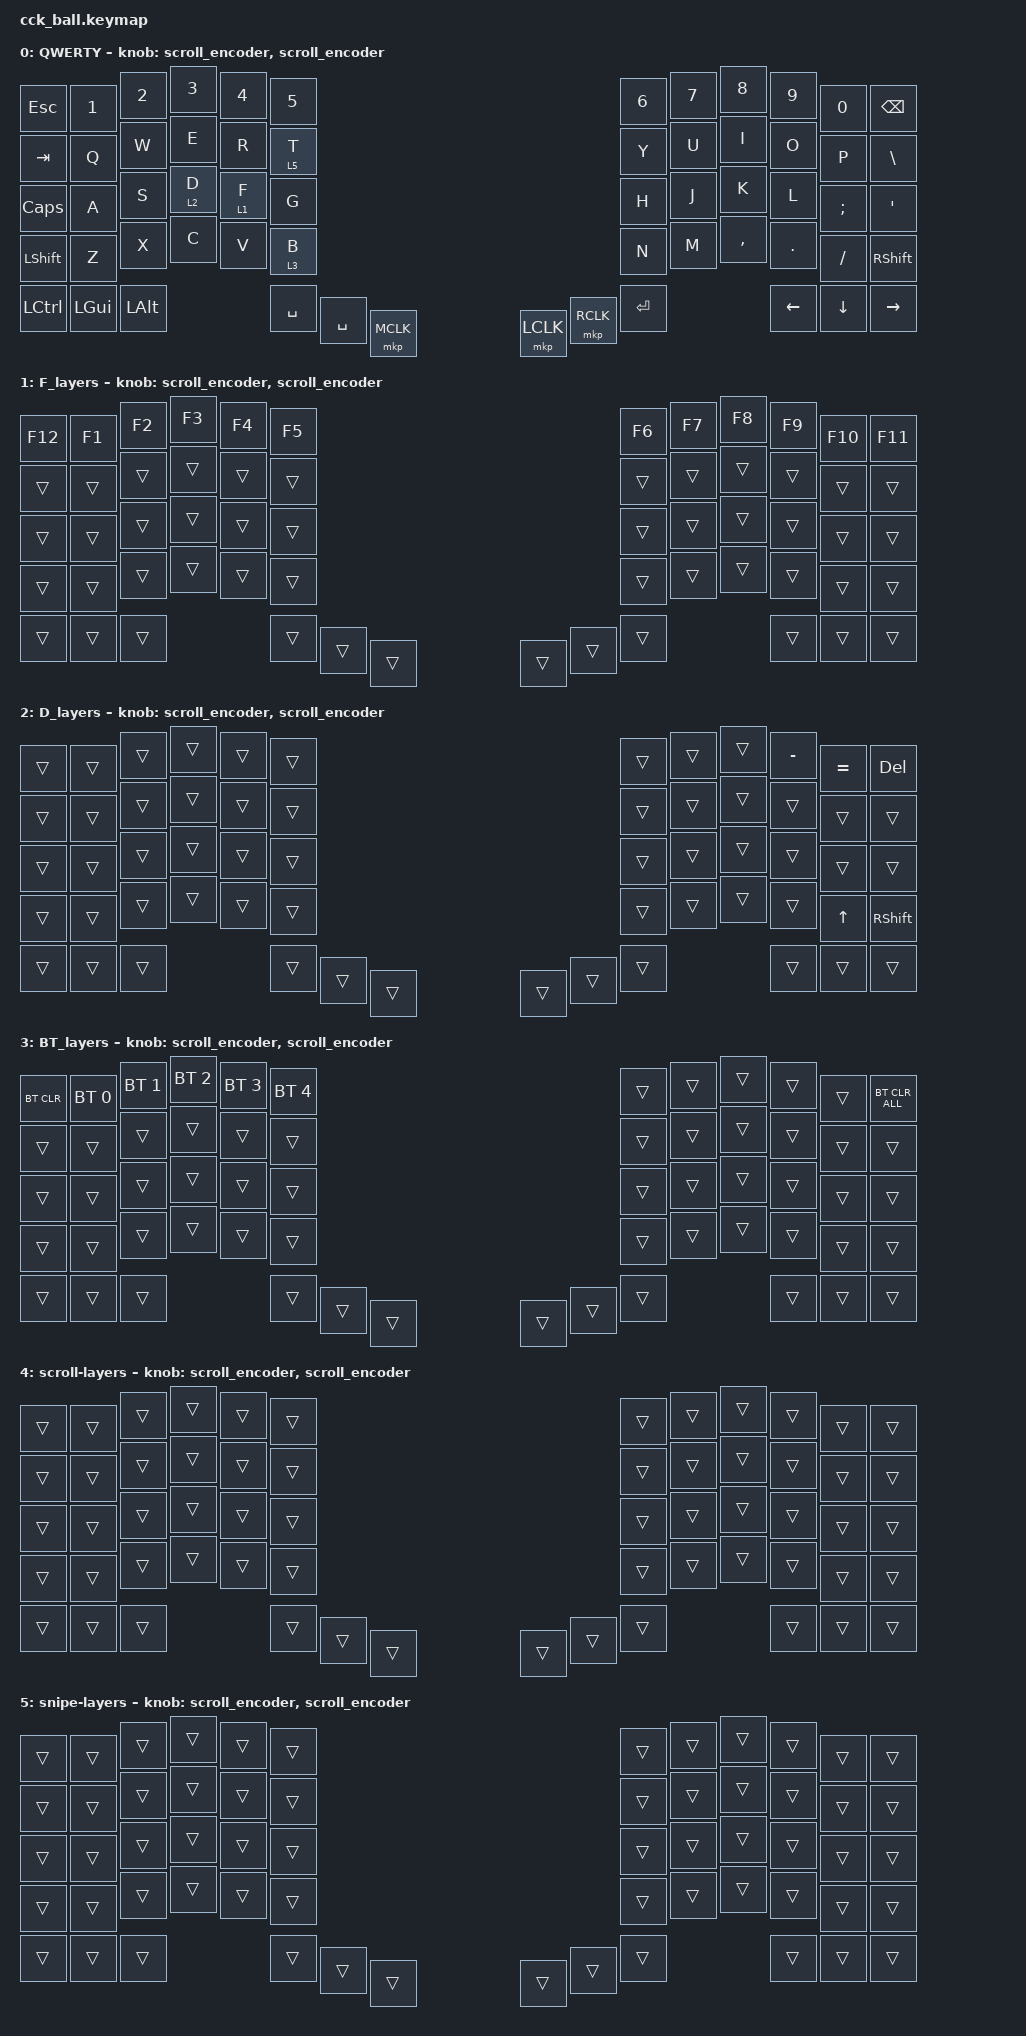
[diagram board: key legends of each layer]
/*
 * Scroll speed for &msc is in notches per second (smooth scrolling is OFF, so one unit = one
 * mouse-wheel notch). 64/s with a 16 ms trigger period = ~1.02 notch per tick, and the encoder
 * behavior below holds the key for 24 ms (one tick) -> exactly one notch per encoder click.
 */
#define ZMK_POINTING_DEFAULT_MOVE_VAL 1000 // 600
#define ZMK_POINTING_DEFAULT_SCRL_VAL 64   // 10

#include <input/processors.dtsi>
#include <zephyr/dt-bindings/input/input-event-codes.h>
#include <behaviors.dtsi>
#include <dt-bindings/zmk/bt.h>
#include <dt-bindings/zmk/keys.h>
#include <dt-bindings/zmk/pointing.h>

&mmv_input_listener { input-processors = <&zip_xy_scaler 2 1>; };

/* No scaler on &msc_input_listener on purpose: the encoder wheel must stay 1 click = 1 notch. */

&msc {
    acceleration-exponent = <0>;   /* constant speed, no ramp-up */
    time-to-max-speed-ms = <300>;
    delay-ms = <0>;
    trigger-period-ms = <16>;
};

&mmv {
    time-to-max-speed-ms = <500>;
    acceleration-exponent = <1>;
    trigger-period-ms = <16>;
};

&soft_off { hold-time-ms = <2000>; };

/ {
    behaviors {
        /*
         * Mouse-wheel encoder (used by both encoders, on every layer).
         * Clockwise = wheel up (like rolling a mouse wheel forward / zoom in),
         * counter-clockwise = wheel down. To flip direction, swap the two bindings.
         * If one click ever gives 0 or 2 notches, adjust tap-ms (one 16 ms tick fits in 24 ms).
         */
        scroll_encoder: scroll_encoder {
            compatible = "zmk,behavior-sensor-rotate";
            #sensor-binding-cells = <0>;
            bindings = <&msc SCRL_UP>, <&msc SCRL_DOWN>;
            tap-ms = <24>;
        };
    };

    /*
     * Layers:
     *   0 QWERTY       base layer
     *   1 F_layers     hold F : number row becomes F1-F12
     *   2 D_layers     hold D : 9 -> - and _, 0 -> = and +, Backspace -> Delete, "/" key -> Up arrow
     *   3 BT_layers    hold B : Bluetooth profile select / clear
     *   4 scroll-layers  not reachable yet (all transparent); trackball scroll mode lives here
     *   5 snipe-layers   hold T : trackball moves slowly for precision (all keys transparent)
     *
     * The six bottom thumb keys (3 per half) are defined only on layer 0 and are
     * transparent on every other layer, so they always behave as layer 0 says.
     */
    keymap {
        compatible = "zmk,keymap";

        QWERTY {
            bindings = <
&kp ESC           &kp N1        &kp N2        &kp N3      &kp N4      &kp N5      &kp N6      &kp N7      &kp N8     &kp N9          &kp N0          &kp BACKSPACE
&kp TAB           &kp Q         &kp W         &kp E       &kp R       &lt 5 T     &kp Y       &kp U       &kp I      &kp O           &kp P           &kp BSLH
&kp CAPSLOCK      &kp A         &kp S         &lt 2 D     &lt 1 F     &kp G       &kp H       &kp J       &kp K      &kp L           &kp SEMI        &kp SQT
&kp LEFT_SHIFT    &kp Z         &kp X         &kp C       &kp V       &lt 3 B     &kp N       &kp M       &kp COMMA  &kp DOT         &kp FSLH        &kp RIGHT_SHIFT
&kp LEFT_CONTROL  &kp LGUI      &kp LEFT_ALT  &kp SPACE   &kp SPACE   &mkp MCLK   &mkp LCLK   &mkp RCLK   &kp ENTER  &kp LEFT_ARROW  &kp DOWN_ARROW  &kp RIGHT_ARROW
            >;
            sensor-bindings = <&scroll_encoder &scroll_encoder>;
        };

        F_layers {
            bindings = <
&kp F12  &kp F1  &kp F2  &kp F3  &kp F4  &kp F5  &kp F6  &kp F7  &kp F8  &kp F9  &kp F10  &kp F11
&trans   &trans  &trans  &trans  &trans  &trans  &trans  &trans  &trans  &trans  &trans   &trans
&trans   &trans  &trans  &trans  &trans  &trans  &trans  &trans  &trans  &trans  &trans   &trans
&trans   &trans  &trans  &trans  &trans  &trans  &trans  &trans  &trans  &trans  &trans   &trans
&trans   &trans  &trans  &trans  &trans  &trans  &trans  &trans  &trans  &trans  &trans   &trans
            >;
            sensor-bindings = <&scroll_encoder &scroll_encoder>;
        };

        D_layers {
            bindings = <
&trans  &trans  &trans  &trans  &trans  &trans  &trans  &trans  &trans  &kp MINUS  &kp EQUAL  &kp DELETE
&trans  &trans  &trans  &trans  &trans  &trans  &trans  &trans  &trans  &trans  &trans       &trans
&trans  &trans  &trans  &trans  &trans  &trans  &trans  &trans  &trans  &trans  &trans       &trans
&trans  &trans  &trans  &trans  &trans  &trans  &trans  &trans  &trans  &trans  &kp UP_ARROW &kp RIGHT_SHIFT
&trans  &trans  &trans  &trans  &trans  &trans  &trans  &trans  &trans  &trans  &trans       &trans
            >;
            sensor-bindings = <&scroll_encoder &scroll_encoder>;
        };

        BT_layers {
            bindings = <
&bt BT_CLR  &bt BT_SEL 0  &bt BT_SEL 1  &bt BT_SEL 2  &bt BT_SEL 3  &bt BT_SEL 4  &trans  &trans  &trans  &trans  &trans  &bt BT_CLR_ALL
&trans      &trans        &trans        &trans        &trans        &trans        &trans  &trans  &trans  &trans  &trans  &trans
&trans      &trans        &trans        &trans        &trans        &trans        &trans  &trans  &trans  &trans  &trans  &trans
&trans      &trans        &trans        &trans        &trans        &trans        &trans  &trans  &trans  &trans  &trans  &trans
&trans      &trans        &trans        &trans        &trans        &trans        &trans  &trans  &trans  &trans  &trans  &trans
            >;
            sensor-bindings = <&scroll_encoder &scroll_encoder>;
        };

        scroll-layers {
            bindings = <
&trans  &trans  &trans  &trans  &trans  &trans  &trans  &trans  &trans  &trans  &trans  &trans
&trans  &trans  &trans  &trans  &trans  &trans  &trans  &trans  &trans  &trans  &trans  &trans
&trans  &trans  &trans  &trans  &trans  &trans  &trans  &trans  &trans  &trans  &trans  &trans
&trans  &trans  &trans  &trans  &trans  &trans  &trans  &trans  &trans  &trans  &trans  &trans
&trans  &trans  &trans  &trans  &trans  &trans  &trans  &trans  &trans  &trans  &trans  &trans
            >;
            sensor-bindings = <&scroll_encoder &scroll_encoder>;
        };

        snipe-layers {
            bindings = <
&trans  &trans  &trans  &trans  &trans  &trans  &trans  &trans  &trans  &trans  &trans  &trans
&trans  &trans  &trans  &trans  &trans  &trans  &trans  &trans  &trans  &trans  &trans  &trans
&trans  &trans  &trans  &trans  &trans  &trans  &trans  &trans  &trans  &trans  &trans  &trans
&trans  &trans  &trans  &trans  &trans  &trans  &trans  &trans  &trans  &trans  &trans  &trans
&trans  &trans  &trans  &trans  &trans  &trans  &trans  &trans  &trans  &trans  &trans  &trans
            >;
            sensor-bindings = <&scroll_encoder &scroll_encoder>;
        };
    };
};
